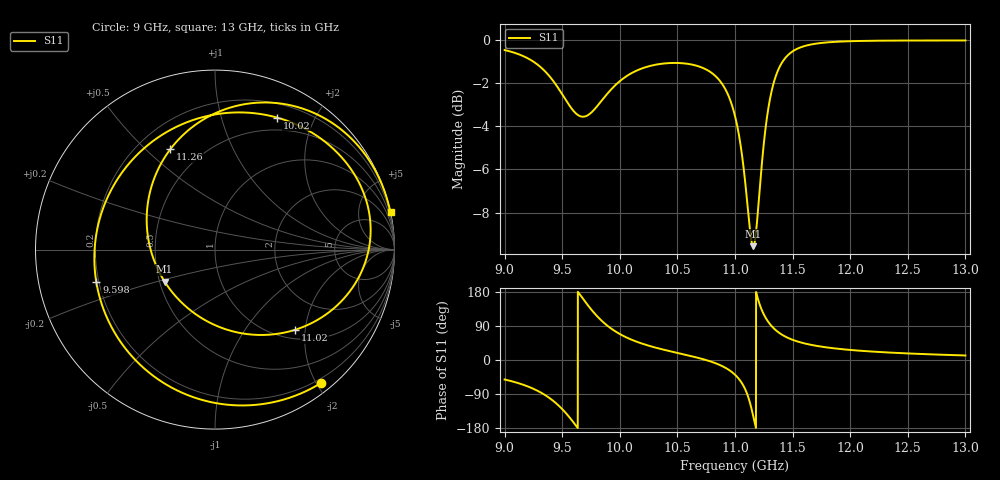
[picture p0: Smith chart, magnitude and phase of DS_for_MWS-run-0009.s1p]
! TOUCHSTONE file generated by CST DESIGN STUDIO
! Date and time: Tue Feb  4 14:07:54 2025
! Project name: C:\Work\MatlabApps\UnitCellOptimizationMatlab\CST\unitcell.cst
! Tree item: Tasks\Sweep1\SPara1\S-Parameters
! Header version: 2024
! Port assignment regex: !\s*Touchstone port\s*([0-9]+)\s*=\s*(CST MWS port|CST DES external port|CST DES block port)\s*(.+)\s* \(\"(.*)\"\)(\s*mode\s*([0-9]+))?.*
! Touchstone port assignment:
! Touchstone port 1 = CST DES external port 1 ("")
# GHz S MA R 50
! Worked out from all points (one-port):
!   4001 points, 9 GHz to 13 GHz, reference 50 ohm
!   lowest |S11| = -9.6 dB at 11.16 GHz (marker M1), VSWR 2.00, Z = 26.6 - j10.6 ohm
!   |S11| at or under -10 dB: nowhere
!   S11 on the Smith chart (normalised r, x): 9 GHz: 0.14, -2.07; 9.598 GHz: 0.19, -0.13; 10.02 GHz: 0.35, +1.52; 11.02 GHz: 1.19, -1.76; 11.26 GHz: 0.33, +0.60; 13 GHz: 0.02, +9.55
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9  0.9495 -51.5
9.168  0.9176 -66.0
9.32  0.8631 -86.8
9.416  0.8088 -106.4
9.5  0.7495 -129.5
9.598  0.6857 -164.6
9.688  0.6647 158.4
9.797  0.6998 117.5
9.888  0.7496 91.5
10  0.8039 68.5
10.022  0.8126 64.9
10.229  0.8671 39.8
10.5  0.8861 18.6
10.819  0.8313 -7.1
10.921  0.7658 -21.2
11  0.6672 -38.8
11.02  0.6314 -45.0
11.095  0.4505 -81.7
11.158  0.3325 -147.7
11.207  0.4258 153.3
11.261  0.6118 114.0
11.303  0.7293 94.9
11.35  0.8198 79.7
11.5  0.9428 53.3
11.692  0.9816 38.1
12  0.9955 26.5
12.5  0.9991 17.3
13  0.9995 12.0
